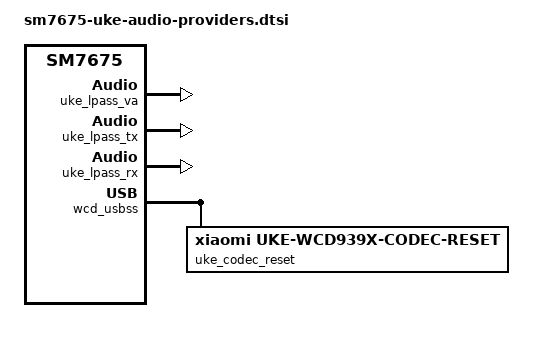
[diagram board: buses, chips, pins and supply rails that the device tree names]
/* SPDX-License-Identifier: GPL-2.0-only OR BSD-2-Clause */
/* Uke stock OS3 / MiCode 8eb0eccb; Palawan shared-IP clock model.
 * Register providers only: no WCD codec, SoundWire bus, bias or PCM route.
 */
#include <dt-bindings/sound/qcom,q6dsp-lpass-ports.h>

&{/soc} {
	uke_lpass_va: codec@6d44000 {
		compatible = "qcom,sm8550-lpass-va-macro";
		reg = <0x06d44000 0x1000>;
		clocks = <&uke_q6prm_clocks LPASS_CLK_ID_TX_CORE_MCLK LPASS_CLK_ATTRIBUTE_COUPLE_NO>,
			 <&uke_q6prm_clocks LPASS_HW_MACRO_VOTE LPASS_CLK_ATTRIBUTE_COUPLE_NO>,
			 <&uke_q6prm_clocks LPASS_HW_DCODEC_VOTE LPASS_CLK_ATTRIBUTE_COUPLE_NO>;
		clock-names = "mclk", "macro", "dcodec";
		clock-output-names = "uke-va-fsgen";
		#clock-cells = <0>;
		#sound-dai-cells = <1>;
		qcom,dmic-sample-rate = <600000>;
	};

	uke_lpass_tx: codec@6ae0000 {
		compatible = "qcom,sm8550-lpass-tx-macro";
		reg = <0x06ae0000 0x1000>;
		clocks = <&uke_q6prm_clocks LPASS_CLK_ID_TX_CORE_MCLK LPASS_CLK_ATTRIBUTE_COUPLE_NO>,
			 <&uke_q6prm_clocks LPASS_HW_MACRO_VOTE LPASS_CLK_ATTRIBUTE_COUPLE_NO>,
			 <&uke_q6prm_clocks LPASS_HW_DCODEC_VOTE LPASS_CLK_ATTRIBUTE_COUPLE_NO>,
			 <&uke_lpass_va>;
		clock-names = "mclk", "macro", "dcodec", "fsgen";
		clock-output-names = "uke-tx-mclk";
		#clock-cells = <0>;
		#sound-dai-cells = <1>;
	};

	uke_lpass_rx: codec@6ac0000 {
		compatible = "qcom,sm8550-lpass-rx-macro";
		reg = <0x06ac0000 0x1000>;
		clocks = <&uke_q6prm_clocks LPASS_CLK_ID_RX_CORE_TX_MCLK LPASS_CLK_ATTRIBUTE_COUPLE_NO>,
			 <&uke_q6prm_clocks LPASS_HW_MACRO_VOTE LPASS_CLK_ATTRIBUTE_COUPLE_NO>,
			 <&uke_q6prm_clocks LPASS_HW_DCODEC_VOTE LPASS_CLK_ATTRIBUTE_COUPLE_NO>,
			 <&uke_lpass_va>;
		clock-names = "mclk", "macro", "dcodec", "fsgen";
		clock-output-names = "uke-rx-mclk";
		#clock-cells = <0>;
		#sound-dai-cells = <1>;
	};

	uke_lpass_tlmm: uke_lpass_pins: pinctrl@6e80000 {
		compatible = "qcom,sm7675-lpass-lpi-pinctrl";
		reg = <0x06e80000 0x17000>;
		clocks = <&uke_q6prm_clocks LPASS_HW_MACRO_VOTE LPASS_CLK_ATTRIBUTE_COUPLE_NO>,
			 <&uke_q6prm_clocks LPASS_HW_DCODEC_VOTE LPASS_CLK_ATTRIBUTE_COUPLE_NO>;
		clock-names = "core", "audio";
		gpio-controller;
		#gpio-cells = <2>;
		gpio-ranges = <&uke_lpass_pins 0 0 23>;
		gpio-reserved-ranges = <0 12>, <13 10>;

		uke_codec_reset_active: codec-reset-active-state {
			pins = "gpio12";
			function = "gpio";
			drive-strength = <16>;
			bias-disable;
			output-high;
		};
		uke_codec_reset_sleep: codec-reset-sleep-state {
			pins = "gpio12";
			function = "gpio";
			drive-strength = <2>;
			bias-pull-down;
			input-enable;
		};
	};
};

&wcd_usbss {
	uke_codec_reset: codec-reset {
		compatible = "xiaomi,uke-wcd939x-codec-reset";
		#reset-cells = <1>;
		/* No default state: registration must not pulse or configure GPIO12. */
		pinctrl-names = "active", "sleep";
		pinctrl-0 = <&uke_codec_reset_active>;
		pinctrl-1 = <&uke_codec_reset_sleep>;
	};
};
